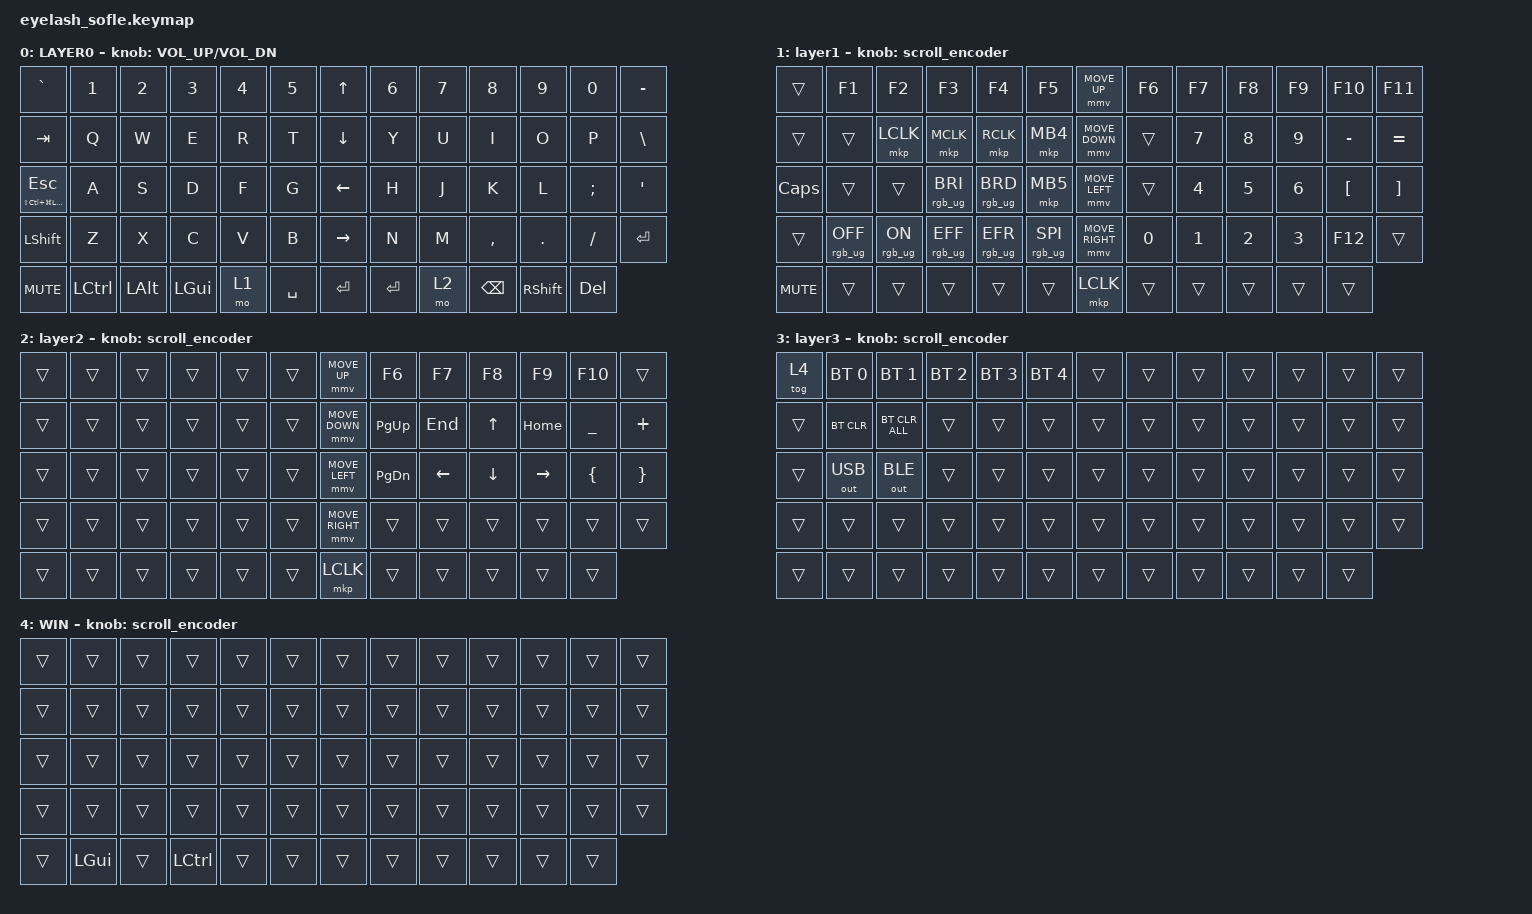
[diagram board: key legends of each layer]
#define ZMK_POINTING_DEFAULT_MOVE_VAL 1200  // 600
#define ZMK_POINTING_DEFAULT_SCRL_VAL 25   // 10

#include <input/processors.dtsi>
#include <zephyr/dt-bindings/input/input-event-codes.h>
#include <behaviors.dtsi>
#include <dt-bindings/zmk/bt.h>
#include <dt-bindings/zmk/keys.h>
#include <dt-bindings/zmk/outputs.h>
#include <dt-bindings/zmk/pointing.h>
#include <dt-bindings/zmk/rgb.h>

&mmv_input_listener { input-processors = <&zip_xy_scaler 2 1>; };

&msc_input_listener { input-processors = <&zip_scroll_scaler 2 1>; };

&msc {
    acceleration-exponent = <1>;      // 0
    time-to-max-speed-ms = <100>;       // 300
    delay-ms = <0>;                   // 0
};

&mmv {
    time-to-max-speed-ms = <500>;
    acceleration-exponent = <1>;
    trigger-period-ms = <16>;
};

&soft_off { hold-time-ms = <2000>; };

/ {
    scroll_encoder: scroll_encoder {
        compatible = "zmk,behavior-sensor-rotate";
        #sensor-binding-cells = <0>;
        bindings = <&msc SCRL_DOWN>, <&msc SCRL_UP>;

        tap-ms = <100>;
    };

    behaviors {
    };

    combos {
        compatible = "zmk,combos";

        softoff {
            bindings = <&soft_off>;
            key-positions = <14 28 40>;
        };
    };

    macros {
        SHIFT_MCLK: SHIFT_MCLK {
            compatible = "zmk,behavior-macro";
            #binding-cells = <0>;
            bindings =
                <&macro_press>,
                <&kp LEFT_SHIFT>,
                <&macro_press>,
                <&mkp MB3>,
                <&macro_pause_for_release>,
                <&macro_release>,
                <&kp LEFT_SHIFT &mkp MB3>;

            label = "SHIFT_MCLK";
        };
    };

    keymap {
        compatible = "zmk,keymap";

        layer0 {
            bindings = <
&kp GRAVE                    &kp N1     &kp N2        &kp N3        &kp N4  &kp N5       &kp UP_ARROW     &kp N6     &kp N7  &kp N8         &kp N9           &kp N0      &kp MINUS
&kp TAB                      &kp Q      &kp W         &kp E         &kp R   &kp T        &kp DOWN_ARROW   &kp Y      &kp U   &kp I          &kp O            &kp P       &kp BSLH
&mt LS(LC(LG(LALT))) ESCAPE  &kp A      &kp S         &kp D         &kp F   &kp G        &kp LEFT_ARROW   &kp H      &kp J   &kp K          &kp L            &kp SEMI    &kp APOS
&kp LSHFT                    &kp Z      &kp X         &kp C         &kp V   &kp B        &kp RIGHT_ARROW  &kp N      &kp M   &kp COMMA      &kp DOT          &kp FSLH    &kp ENTER
&kp C_MUTE                   &kp LCTRL  &kp LEFT_ALT  &kp LEFT_GUI  &mo 1   &kp SPACE    &kp ENTER        &kp ENTER  &mo 2   &kp BACKSPACE  &kp RIGHT_SHIFT  &kp DELETE
            >;

            sensor-bindings = <&inc_dec_kp C_VOLUME_UP C_VOL_DN>;
            display-name = "LAYER0";
        };

        layer_1 {
            bindings = <
&trans      &kp F1           &kp F2          &kp F3           &kp F4           &kp F5             &mmv MOVE_UP     &kp F6        &kp F7        &kp F8        &kp F9        &kp F10           &kp F11
&trans      &trans           &mkp LCLK       &mkp MCLK        &mkp RCLK        &mkp MB4           &mmv MOVE_DOWN   &trans        &kp NUMBER_7  &kp NUMBER_8  &kp NUMBER_9  &kp MINUS         &kp EQUAL
&kp CAPS    &trans           &trans          &rgb_ug RGB_BRI  &rgb_ug RGB_BRD  &mkp MB5           &mmv MOVE_LEFT   &trans        &kp NUMBER_4  &kp NUMBER_5  &kp NUMBER_6  &kp LEFT_BRACKET  &kp RIGHT_BRACKET
&trans      &rgb_ug RGB_OFF  &rgb_ug RGB_ON  &rgb_ug RGB_EFF  &rgb_ug RGB_EFR  &rgb_ug RGB_SPI    &mmv MOVE_RIGHT  &kp NUMBER_0  &kp NUMBER_1  &kp NUMBER_2  &kp NUMBER_3  &kp F12           &trans
&kp C_MUTE  &trans           &trans          &trans           &trans           &trans             &mkp LCLK        &trans        &trans        &trans        &trans        &trans
            >;

            display-name = "layer1";
            sensor-bindings = <&scroll_encoder>;
        };

        layer_2 {
            bindings = <
&trans  &trans  &trans  &trans  &trans  &trans    &mmv MOVE_UP     &kp F6     &kp F7    &kp F8    &kp F9     &kp F10    &trans
&trans  &trans  &trans  &trans  &trans  &trans    &mmv MOVE_DOWN   &kp PG_UP  &kp END   &kp UP    &kp HOME   &kp UNDER  &kp PLUS
&trans  &trans  &trans  &trans  &trans  &trans    &mmv MOVE_LEFT   &kp PG_DN  &kp LEFT  &kp DOWN  &kp RIGHT  &kp LBRC   &kp RBRC
&trans  &trans  &trans  &trans  &trans  &trans    &mmv MOVE_RIGHT  &trans     &trans    &trans    &trans     &trans     &trans
&trans  &trans  &trans  &trans  &trans  &trans    &mkp LCLK        &trans     &trans    &trans    &trans     &trans
            >;

            display-name = "layer2";
            sensor-bindings = <&scroll_encoder>;
        };

        layer_3 {
            bindings = <
&tog 4  &bt BT_SEL 0  &bt BT_SEL 1    &bt BT_SEL 2  &bt BT_SEL 3  &bt BT_SEL 4    &trans  &trans  &trans  &trans  &trans  &trans  &trans
&trans  &bt BT_CLR    &bt BT_CLR_ALL  &trans        &trans        &trans          &trans  &trans  &trans  &trans  &trans  &trans  &trans
&trans  &out OUT_USB  &out OUT_BLE    &trans        &trans        &trans          &trans  &trans  &trans  &trans  &trans  &trans  &trans
&trans  &trans        &trans          &trans        &trans        &trans          &trans  &trans  &trans  &trans  &trans  &trans  &trans
&trans  &trans        &trans          &trans        &trans        &trans          &trans  &trans  &trans  &trans  &trans  &trans
            >;

            display-name = "layer3";
            sensor-bindings = <&scroll_encoder>;
        };

        layer_4 {
            bindings = <
&trans  &trans        &trans  &trans     &trans  &trans    &trans  &trans  &trans  &trans  &trans  &trans  &trans
&trans  &trans        &trans  &trans     &trans  &trans    &trans  &trans  &trans  &trans  &trans  &trans  &trans
&trans  &trans        &trans  &trans     &trans  &trans    &trans  &trans  &trans  &trans  &trans  &trans  &trans
&trans  &trans        &trans  &trans     &trans  &trans    &trans  &trans  &trans  &trans  &trans  &trans  &trans
&trans  &kp LEFT_GUI  &trans  &kp LCTRL  &trans  &trans    &trans  &trans  &trans  &trans  &trans  &trans
            >;

            display-name = "WIN";
            sensor-bindings = <&scroll_encoder>;
        };
    };

    conditional_layers {
        compatible = "zmk,conditional-layers";

        layer3 {
            if-layers = <1 2>;
            then-layer = <3>;
        };
    };
};
